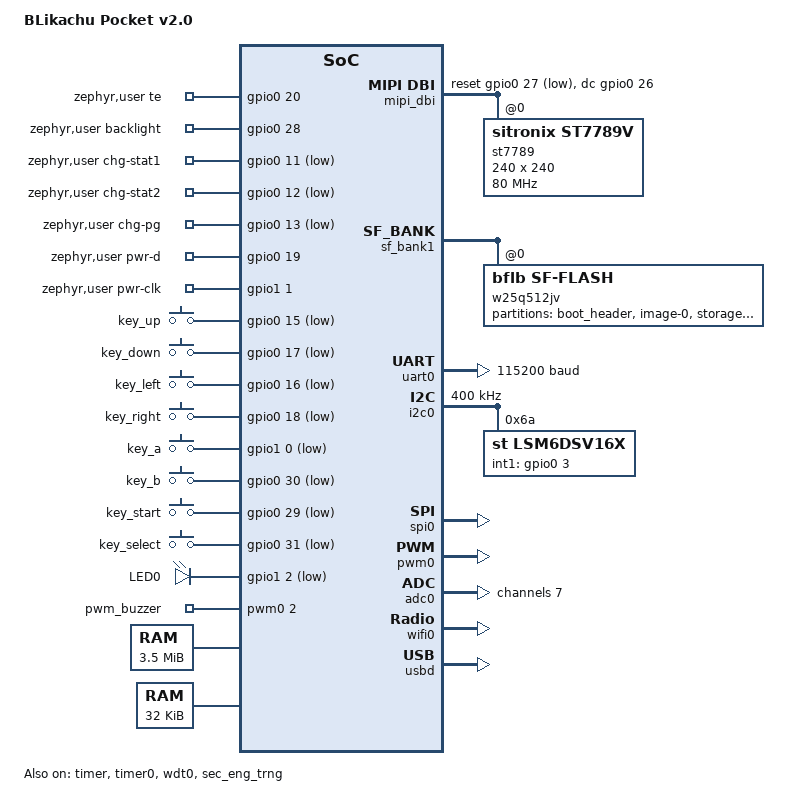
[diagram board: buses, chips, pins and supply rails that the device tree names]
/*
 * BLikachu Pocket v2.0 — BL618 handheld Game Boy emulator.
 *
 * Pin map (from hardware/ PCB netlist — pads are ground truth,
 * the schematic is partly an Eagle import):
 *   I2C0 (LSM6DSV16X IMU, INT1=GPIO3):
 *     SCL=GPIO0  SDA=GPIO1
 *   BOOT button (SW1, to +3V3 — BootROM entry, not an input key):
 *     GPIO2
 *   QSPI flash on SF2 pad set (external — BL618M05 has no internal
 *   die): W25Q512JV 64 MB (U3).
 *     CS=GPIO4 D1=GPIO5 D2=GPIO6 D0=GPIO7 CLK=GPIO8 D3=GPIO9
 *   Battery measurement: VBAT_MES=GPIO10 (VBAT/2, ADC CH7)
 *   Charger status (MCP73871, open-drain active-low):
 *     STAT1=GPIO11  STAT2=GPIO12  PG=GPIO13
 *   Magnetic buzzer (BZ1 on +3V3 via Q4 BC847, D12 flyback):
 *     GPIO14 (PWM0 CH2P)
 *   D-pad / buttons (active-low, internal pull-up):
 *     UP=GPIO15  LEFT=GPIO16  DOWN=GPIO17  RIGHT=GPIO18
 *     START=GPIO29  B=GPIO30  SELECT=GPIO31  A=GPIO32
 *   Power latch (74LVC1G80 ~Q -> Q3 NMOS -> Q5 PMOS, VBAT->VIN):
 *     D=GPIO19 (/PWR_ON)  CP=GPIO33 (/CLOCK_FF)
 *     R40 (0R) ties D to ~Q: a toggle flip-flop, each CP rising edge
 *     flips power. ~Q high = held. GPIO19 is input-only (reads ~Q).
 *     Power button pulls Q5's gate via D8 (and reads as START via D9).
 *   ST7789V SPI 240x240 (ZJY133T-IF05 FPC, write-only):
 *     MOSI=GPIO23  CS=GPIO24  SCLK=GPIO25  DC(RS)=GPIO26  RST=GPIO27
 *     TE=GPIO20  Backlight=GPIO28 (Q2 low-side, PWM0 CH0P)
 *   UART0 console/shell (J3 header + CKLink adapter):
 *     TX=GPIO21  RX=GPIO22  (BootROM download pins too)
 *   USB-C: native USB HS PHY (dedicated pins, via USBLC6 ESD) —
 *     CDC ACM shell via the bl61x UDC (patches/0003).
 *   LED0=GPIO34
 *
 * GPIO numbering: gpio0 covers GPIO0-31, gpio1 covers GPIO32-34
 * (pins 0-2).
 *
 * Flash layout (64 MB W25Q512JV, 4-byte addresses):
 *   boot_header: 8 KiB (BootROM flash config + app length/SHA-256)
 *   image-0:     8 MB minus the header
 *   storage:     56 MB FATFS "NAND"
 *
 * SPDX-License-Identifier: Apache-2.0
 */

/dts-v1/;

#include <bflb/bl618.dtsi>
#include <bflb/bl61x_em_32kb_wifi.dtsi>

#include <freq.h>
#include <zephyr/dt-bindings/input/input-event-codes.h>
#include <zephyr/dt-bindings/display/panel.h>
#include <zephyr/dt-bindings/mipi_dbi/mipi_dbi.h>
#include <zephyr/dt-bindings/pwm/pwm.h>
#include <zephyr/dt-bindings/sensor/lsm6dsv16x.h>

/ {
	model = "BLikachu Pocket v2.0";
	compatible = "bflb,bl618";

	chosen {
		zephyr,flash = &w25q512jv;
		zephyr,flash-controller = &sf_bank1;
		zephyr,code-partition = &code_partition;
		zephyr,sram = &all_ram;
		zephyr,console = &uart0;
		zephyr,shell-uart = &cdc_acm_uart0;
		zephyr,entropy = &sec_eng_trng;
		zephyr,display = &st7789;
	};

	aliases {
		buzzer = &pwm_buzzer;
		watchdog0 = &wdt0;
		vbat-adc = &adc0;
		led0 = &led_0;
	};

	zephyr,user {
		/* ST7789V tear-effect output. */
		te-gpios = <&gpio0 20 GPIO_ACTIVE_HIGH>;
		/* Backlight moved off PWM0 (single global period shared
		 * with the buzzer — every note retuned it): timer0
		 * soft-PWM drives the pin as plain GPIO instead.
		 */
		backlight-gpios = <&gpio0 28 GPIO_ACTIVE_HIGH>;

		/* MCP73871 status outputs (open-drain, LED-loaded — internal
		 * pull-ups required for a solid released level).
		 */
		chg-stat1-gpios = <&gpio0 11 (GPIO_ACTIVE_LOW | GPIO_PULL_UP)>;
		chg-stat2-gpios = <&gpio0 12 (GPIO_ACTIVE_LOW | GPIO_PULL_UP)>;
		chg-pg-gpios = <&gpio0 13 (GPIO_ACTIVE_LOW | GPIO_PULL_UP)>;

		/* 74LVC1G80 power latch, D tied to ~Q (R40): GPIO19 reads
		 * the state (high = held), a CP rising edge toggles it.
		 */
		pwr-d-gpios = <&gpio0 19 GPIO_ACTIVE_HIGH>;
		pwr-clk-gpios = <&gpio1 1 GPIO_ACTIVE_HIGH>;	/* GPIO33 */
	};

	keys: gpio_keys {
		compatible = "gpio-keys";
		polling-mode;

		key_up: key_up {
			gpios = <&gpio0 15 (GPIO_ACTIVE_LOW | GPIO_PULL_UP)>;
			zephyr,code = <INPUT_KEY_UP>;
		};
		key_down: key_down {
			gpios = <&gpio0 17 (GPIO_ACTIVE_LOW | GPIO_PULL_UP)>;
			zephyr,code = <INPUT_KEY_DOWN>;
		};
		key_left: key_left {
			gpios = <&gpio0 16 (GPIO_ACTIVE_LOW | GPIO_PULL_UP)>;
			zephyr,code = <INPUT_KEY_LEFT>;
		};
		key_right: key_right {
			gpios = <&gpio0 18 (GPIO_ACTIVE_LOW | GPIO_PULL_UP)>;
			zephyr,code = <INPUT_KEY_RIGHT>;
		};
		key_a: key_a {
			gpios = <&gpio1 0 (GPIO_ACTIVE_LOW | GPIO_PULL_UP)>;	/* GPIO32 */
			zephyr,code = <INPUT_BTN_A>;
		};
		key_b: key_b {
			gpios = <&gpio0 30 (GPIO_ACTIVE_LOW | GPIO_PULL_UP)>;
			zephyr,code = <INPUT_BTN_B>;
		};
		key_start: key_start {
			gpios = <&gpio0 29 (GPIO_ACTIVE_LOW | GPIO_PULL_UP)>;
			zephyr,code = <INPUT_BTN_START>;
		};
		key_select: key_select {
			gpios = <&gpio0 31 (GPIO_ACTIVE_LOW | GPIO_PULL_UP)>;
			zephyr,code = <INPUT_BTN_SELECT>;
		};
	};

	leds {
		compatible = "gpio-leds";
		led_0: led_0 {
			gpios = <&gpio1 2 GPIO_ACTIVE_LOW>;	/* GPIO34 */
			label = "LED0";
		};
	};

	mipi_dbi {
		compatible = "zephyr,mipi-dbi-spi";
		spi-dev = <&spi0>;
		dc-gpios = <&gpio0 26 GPIO_ACTIVE_HIGH>;
		reset-gpios = <&gpio0 27 GPIO_ACTIVE_LOW>;
		write-only;
		#address-cells = <1>;
		#size-cells = <0>;

		st7789: st7789v@0 {
			compatible = "sitronix,st7789v";
			mipi-max-frequency = <DT_FREQ_M(80)>;
			reg = <0>;
			width = <240>;
			height = <240>;
			x-offset = <0>;
			y-offset = <0>;
			vcom = <0x37>;
			gctrl = <0x35>;
			vrhs = <0x12>;
			vdvs = <0x20>;
			mdac = <0x00>;
			gamma = <0x01>;
			pixel-format = <PANEL_PIXEL_FORMAT_RGB_565>;
			lcm = <0x2c>;
			porch-param = [0c 0c 00 33 33];
			cmd2en-param = [5a 69 02 01];
			pwctrl1-param = [a4 a1];
			pvgam-param = [d0 04 0d 11 13 2b 3f 54 4c 18 0d 0b 1f 23];
			nvgam-param = [d0 04 0c 11 13 2c 3f 44 51 2f 1f 1f 20 23];
			ram-param = [00 f0];
			rgb-param = [cd 08 14];
			mipi-mode = "MIPI_DBI_MODE_SPI_4WIRE";
		};
	};

	pwmleds {
		compatible = "pwm-leds";
		pwm_buzzer: pwm_buzzer {
			pwms = <&pwm0 2 0 PWM_POLARITY_NORMAL>;	/* GPIO14 CH2P */
		};
	};
};

/* CPU boost on AU PLL; keep BCLK, WiFi PLL, flash and PSRAM at
 * their normal peripheral rates. */
&clk_aupll {
	top-frequency = <BL61X_TOP_FREQ_OC1>;
};

&clk_bclk {
	divider = <6>;
};

&cpu0 {
	clock-frequency = <DT_FREQ_M(480)>;
};

/* With Bluetooth disabled, EM_SEL=0 exposes the upper 32 KiB of WRAM.
 * The lower 128 KiB stays reserved for WiFi and DMA data. Use the cached
 * alias of the upper slice for emulator code, with no physical overlap.
 */
/ {
	core_ram: memory@a8080000 {
		compatible = "zephyr,memory-region";
		reg = <0xa8080000 DT_SIZE_K(3584)>;
		zephyr,memory-region = "CORE_RAM";
		zephyr,memory-region-flags = "rw";
	};

	emu_code: memory@63030000 {
		compatible = "zephyr,memory-region";
		reg = <0x63030000 DT_SIZE_K(32)>;
		zephyr,memory-region = "EMURAM";
		zephyr,memory-region-flags = "rx";
	};
};

/* Firmware/network buffers are separate from the mutually exclusive core
 * and firmware-update workspace in the upper 3.5 MiB of physical PSRAM.
 */
&psram {
	reg = <0xa8000000 DT_SIZE_K(512)>;
	ranges = <0x0 0xa8000000 DT_SIZE_K(512)>;
};

/* Backlight soft-PWM tick source (see platform_bl618.c). */
&timer {
	status = "okay";
};

&timer0 {
	status = "okay";
};

&pinctrl {
	uart0_default: uart0_default {
		group1 {
			pinmux = <GPIO22_UART0_RX>,
				 <GPIO21_UART0_TX>;
			bias-pull-up;
			input-schmitt-enable;
		};
	};

	uart0_sleep: uart0_sleep {
		group1 {
			pinmux = <GPIO22_UART0_RX>,
				 <GPIO21_UART0_TX>;
			bias-high-impedance;
		};
	};

	i2c0_default: i2c0_default {
		group1 {
			pinmux = <GPIO0_I2C0_SCL>,
				 <GPIO1_I2C0_SDA>;
			bias-pull-up;
			input-schmitt-enable;
		};
	};

	spi0_display: spi0_display {
		group1 {
			pinmux = <GPIO25_SPI_SCLK>,
				 <GPIO23_SPI_MOSI>;
			bias-pull-up;
			input-schmitt-enable;
		};
	};

	pwm0_default: pwm0_default {
		group1 {
			pinmux = <GPIO14_PWM0_CH2P>;	/* buzzer */
			bias-pull-up;
			input-schmitt-enable;
			drive-strength = <1>;
		};
	};

	adc0_default: adc0_default {
		group1 {
			pinmux = <GPIO10_ADC_CH7>;	/* VBAT_MES = VBAT/2 */
		};
	};

	sf2_default: sf2_default {
		group1 {
			pinmux = <GPIO4_SF2_CS>,
				 <GPIO5_SF2_D1>,
				 <GPIO6_SF2_D2>,
				 <GPIO7_SF2_D0>,
				 <GPIO8_SF2_CLK>,
				 <GPIO9_SF2_D3>;
			bias-pull-up;
			input-schmitt-enable;
			drive-strength = <2>;
		};
	};
};

&clk_flash {
	divider = <1>;
};

&sf_ctrl {
	use-32b-addresses;
	override-bank1;
	no-header;
};

&sf_bank1 {
	reg = <0xa0000000 DT_SIZE_M(64)>;
	ranges = <0x0 0xa0000000 DT_SIZE_M(64)>;

	pinctrl-0 = <&sf2_default>;
	pinctrl-names = "default";

	w25q512jv: flash@0 {
		compatible = "bflb,sf-flash", "soc-nv-flash";
		reg = <0 DT_SIZE_M(64)>;
		ranges;
		#address-cells = <1>;
		#size-cells = <1>;
		write-block-size = <4>;
		erase-block-size = <DT_SIZE_K(4)>;

		spi-bus-mode = <2>;
		use-sfdp;
		sf-pad = <2>;
		jedec-id = [ef 40 20];

		/* Quad-output reads retain a single-line command/address phase
		 * and have no continuous-read mode byte. SFDP supplies QE setup.
		 */
		read-command = <0x6b>;
		read-dummy-cycles = <1>;

		partitions {
			ranges;
			#address-cells = <1>;
			#size-cells = <1>;

			boot_header_partition: partition@0 {
				compatible = "zephyr,mapped-partition";
				label = "boot_header";
				reg = <0x00000000 0x2000>;
				read-only;
			};

			code_partition: partition@2000 {
				compatible = "zephyr,mapped-partition";
				label = "image-0";
				reg = <0x00002000 (DT_SIZE_M(8) - 0x2000)>;
				read-only;
			};

			storage_partition: partition@800000 {
				compatible = "zephyr,mapped-partition";
				label = "storage";
				reg = <DT_SIZE_M(8) DT_SIZE_M(8)>;
			};

			rom_partition: partition@1000000 {
				compatible = "zephyr,mapped-partition";
				label = "roms";
				reg = <DT_SIZE_M(16) DT_SIZE_M(48)>;
			};
		};
	};
};

&uart0 {
	status = "okay";
	current-speed = <115200>;

	pinctrl-0 = <&uart0_default>;
	pinctrl-1 = <&uart0_sleep>;
	pinctrl-names = "default", "sleep";
};

&i2c0 {
	status = "okay";
	clock-frequency = <I2C_BITRATE_FAST>;

	pinctrl-0 = <&i2c0_default>;
	pinctrl-names = "default";

	lsm6dsv16x: lsm6dsv16x@6a {
		compatible = "st,lsm6dsv16x";
		reg = <0x6a>;
		int1-gpios = <&gpio0 3 GPIO_ACTIVE_HIGH>;
		accel-odr = <LSM6DSVXXX_DT_ODR_AT_60Hz>;
		accel-range = <LSM6DSV16X_DT_FS_2G>;
		status = "okay";
	};
};

&spi0 {
	status = "okay";

	pinctrl-0 = <&spi0_display>;
	pinctrl-names = "default";

	cs-gpios = <&gpio0 24 GPIO_ACTIVE_LOW>;

	/* Display push: TX over DMA channel 0 (trigsrc 0xb = SPI0_TX) */
	dmas = <&dma0 0 0xb>;
	dma-names = "tx";
};

&dma0 {
	status = "okay";
};

&pwm0 {
	status = "okay";

	pinctrl-0 = <&pwm0_default>;
	pinctrl-names = "default";
};

&adc0 {
	status = "okay";

	pinctrl-0 = <&adc0_default>;
	pinctrl-names = "default";

	#address-cells = <1>;
	#size-cells = <0>;

	channel@7 {
		reg = <7>;
		zephyr,gain = "ADC_GAIN_1";
		zephyr,reference = "ADC_REF_INTERNAL";
		zephyr,acquisition-time = <ADC_ACQ_TIME_DEFAULT>;
		zephyr,resolution = <16>;
		zephyr,input-positive = <7>;
	};
};

&wdt0 {
	status = "okay";
};

&sec_eng_trng {
	status = "okay";
};

&gpio0 {
	status = "okay";
};

&gpio1 {
	status = "okay";
};

&wifi0 {
	status = "okay";
};

zephyr_udc0: &usbd {
	status = "okay";

	cdc_acm_uart0: cdc_acm_uart0 {
		compatible = "zephyr,cdc-acm-uart";
	};
};
